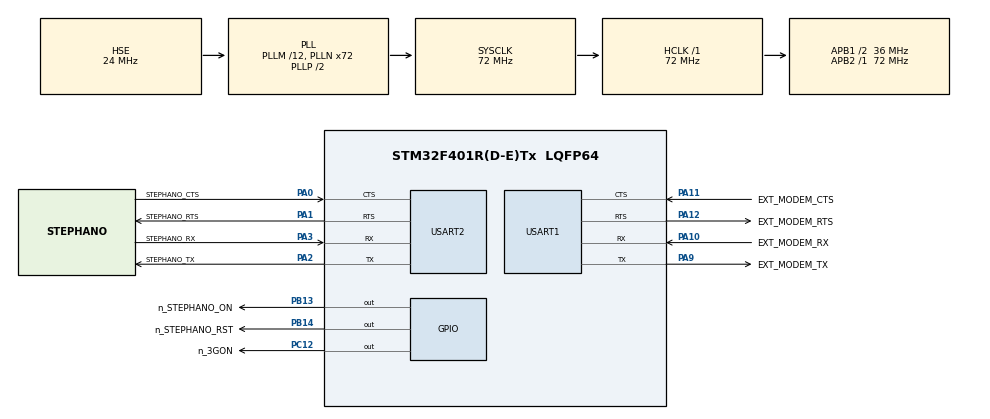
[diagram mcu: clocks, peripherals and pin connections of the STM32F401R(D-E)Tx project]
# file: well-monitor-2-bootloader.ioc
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Mcu.Family=STM32F4
Mcu.Name=STM32F401R(D-E)Tx
Mcu.Package=LQFP64
NVIC.PriorityGroup=NVIC_PRIORITYGROUP_4
NVIC.USART2_IRQn=true\:0\:0\:false\:false\:true\:true\:true\:true
PA0-WKUP.GPIO_Label=STEPHANO_CTS
PA0-WKUP.Mode=CTS_RTS
PA0-WKUP.Signal=USART2_CTS
PA1.GPIO_Label=STEPHANO_RTS
PA1.Mode=CTS_RTS
PA1.Signal=USART2_RTS
PA10.GPIO_Label=EXT_MODEM_RX
PA10.Mode=Asynchronous
PA10.Signal=USART1_RX
PA11.GPIO_Label=EXT_MODEM_CTS
PA11.Mode=CTS_RTS
PA11.Signal=USART1_CTS
PA12.GPIO_Label=EXT_MODEM_RTS
PA12.Mode=CTS_RTS
PA12.Signal=USART1_RTS
PA13.GPIO_Label=TMS
PA13.Mode=Serial_Wire
PA13.Signal=SYS_JTMS-SWDIO
PA14.GPIO_Label=TCK
PA14.Mode=Serial_Wire
PA14.Signal=SYS_JTCK-SWCLK
PA2.GPIO_Label=STEPHANO_TX
PA2.Mode=Asynchronous
PA2.Signal=USART2_TX
PA3.GPIO_Label=STEPHANO_RX
PA3.Mode=Asynchronous
PA3.Signal=USART2_RX
PA9.GPIO_Label=EXT_MODEM_TX
PA9.Mode=Asynchronous
PA9.Signal=USART1_TX
PB13.GPIO_Label=n_STEPHANO_ON
PB13.Signal=GPIO_Output
PB14.GPIO_Label=n_STEPHANO_RST
PB14.PinState=GPIO_PIN_SET
PB14.Signal=GPIO_Output
PC12.GPIO_Label=n_3GON
PC12.Signal=GPIO_Output
PC14-OSC32_IN.Mode=LSE-External-Oscillator
PC14-OSC32_IN.Signal=RCC_OSC32_IN
PC15-OSC32_OUT.Mode=LSE-External-Oscillator
PC15-OSC32_OUT.Signal=RCC_OSC32_OUT
PH0\ -\ OSC_IN.Mode=HSE-External-Oscillator
PH0\ -\ OSC_IN.Signal=RCC_OSC_IN
PH1\ -\ OSC_OUT.Mode=HSE-External-Oscillator
PH1\ -\ OSC_OUT.Signal=RCC_OSC_OUT
ProjectManager.HeapSize=0x600
ProjectManager.StackSize=0x400
ProjectManager.TargetToolchain=STM32CubeIDE
RCC.48MHZClocksFreq_Value=36000000
RCC.AHBFreq_Value=72000000
RCC.APB1CLKDivider=RCC_HCLK_DIV2
RCC.APB1Freq_Value=36000000
RCC.APB1TimFreq_Value=72000000
RCC.APB2Freq_Value=72000000
RCC.APB2TimFreq_Value=72000000
RCC.CortexFreq_Value=72000000
RCC.HCLKFreq_Value=72000000
RCC.HSE_VALUE=24000000
RCC.HSI_VALUE=16000000
RCC.PLLM=12
RCC.PLLN=72
RCC.PLLSourceVirtual=RCC_PLLSOURCE_HSE
RCC.SYSCLKFreq_VALUE=72000000
RCC.SYSCLKSource=RCC_SYSCLKSOURCE_PLLCLK
RCC.VCOOutputFreq_Value=144000000
USART1.VirtualMode=VM_ASYNC
USART2.VirtualMode=VM_ASYNC
board=custom

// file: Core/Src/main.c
/* USER CODE BEGIN Header */
/**
  ******************************************************************************
  * @file           : main.c
  * @brief          : Main program body
  ******************************************************************************
  * @attention
  *
  * Copyright (c) 2026 STMicroelectronics.
  * All rights reserved.
  *
  * This software is licensed under terms that can be found in the LICENSE file
  * in the root directory of this software component.
  * If no LICENSE file comes with this software, it is provided AS-IS.
  *
  ******************************************************************************
  */
/* USER CODE END Header */
#include "main.h"

/* USER CODE BEGIN Includes */
#include <stdio.h>
#include "bootloader_logic.h"
#include "bootloader_download.h"
/* USER CODE END Includes */

/* USER CODE BEGIN PD */
#define BOOTLOADER_DEBUG_ENABLE 1
/* USER CODE END PD */

UART_HandleTypeDef huart1;
UART_HandleTypeDef huart2;

void SystemClock_Config(void);
static void MX_GPIO_Init(void);
static void MX_USART2_UART_Init(void);
static void MX_USART1_UART_Init(void);

int main(void)
{

  /* MCU Configuration--------------------------------------------------------*/

  /* Reset of all peripherals, Initializes the Flash interface and the Systick. */
  HAL_Init();

  /* USER CODE BEGIN Init */
  /* Enable interrupts - BootOnlyBootloader disables them before jumping here */
  __enable_irq();
  /* USER CODE END Init */

  /* Configure the system clock */
  SystemClock_Config();

  /* Initialize all configured peripherals */
  MX_GPIO_Init();
  MX_USART2_UART_Init();
  MX_USART1_UART_Init();

  /* Infinite loop */
  while (1)
  {

    /* USER CODE BEGIN 3 */
#if BOOTLOADER_DEBUG_ENABLE
  {
    char dbg_msg[128];
    int len = sprintf(dbg_msg, "Calling Bootloader_Run\r\n");
    HAL_UART_Transmit(&huart1, (uint8_t*)dbg_msg, len, 1000);
  }
#endif

  /* Run second-stage bootloader: sector 6/7 search, jump, or BLE download */
  Bootloader_Run();

  /* Connect to the download server. This is connect or die trying effort, so no need for status checking. */
  Bootloader_ConnectToServer();

#if BOOTLOADER_DEBUG_ENABLE
  {
    char dbg_msg[128];
    int len = sprintf(dbg_msg, "Calling Bootloader_Download_Process\r\n");
    HAL_UART_Transmit(&huart1, (uint8_t*)dbg_msg, len, 1000);
  }
#endif
    Bootloader_Download_Process();
    HAL_Delay(10);
  }
  /* USER CODE END 3 */
}

void SystemClock_Config(void)
{
  RCC_OscInitTypeDef RCC_OscInitStruct = {0};
  RCC_ClkInitTypeDef RCC_ClkInitStruct = {0};

  /** Configure the main internal regulator output voltage
  */
  __HAL_RCC_PWR_CLK_ENABLE();
  __HAL_PWR_VOLTAGESCALING_CONFIG(PWR_REGULATOR_VOLTAGE_SCALE2);

  /** Initializes the RCC Oscillators according to the specified parameters
  * in the RCC_OscInitTypeDef structure.
  */
  RCC_OscInitStruct.OscillatorType = RCC_OSCILLATORTYPE_HSE;
  RCC_OscInitStruct.HSEState = RCC_HSE_ON;
  RCC_OscInitStruct.PLL.PLLState = RCC_PLL_ON;
  RCC_OscInitStruct.PLL.PLLSource = RCC_PLLSOURCE_HSE;
  RCC_OscInitStruct.PLL.PLLM = 12;
  RCC_OscInitStruct.PLL.PLLN = 72;
  RCC_OscInitStruct.PLL.PLLP = RCC_PLLP_DIV2;
  RCC_OscInitStruct.PLL.PLLQ = 4;
  if (HAL_RCC_OscConfig(&RCC_OscInitStruct) != HAL_OK)
  {
    Error_Handler();
  }

  /** Initializes the CPU, AHB and APB buses clocks
  */
  RCC_ClkInitStruct.ClockType = RCC_CLOCKTYPE_HCLK|RCC_CLOCKTYPE_SYSCLK
                              |RCC_CLOCKTYPE_PCLK1|RCC_CLOCKTYPE_PCLK2;
  RCC_ClkInitStruct.SYSCLKSource = RCC_SYSCLKSOURCE_PLLCLK;
  RCC_ClkInitStruct.AHBCLKDivider = RCC_SYSCLK_DIV1;
  RCC_ClkInitStruct.APB1CLKDivider = RCC_HCLK_DIV2;
  RCC_ClkInitStruct.APB2CLKDivider = RCC_HCLK_DIV1;

  if (HAL_RCC_ClockConfig(&RCC_ClkInitStruct, FLASH_LATENCY_2) != HAL_OK)
  {
    Error_Handler();
  }
}

static void MX_USART1_UART_Init(void)
{

  huart1.Instance = USART1;
  huart1.Init.BaudRate = 115200;
  huart1.Init.WordLength = UART_WORDLENGTH_8B;
  huart1.Init.StopBits = UART_STOPBITS_1;
  huart1.Init.Parity = UART_PARITY_NONE;
  huart1.Init.Mode = UART_MODE_TX_RX;
  huart1.Init.HwFlowCtl = UART_HWCONTROL_NONE /* UART_HWCONTROL_RTS_CTS */;
  huart1.Init.OverSampling = UART_OVERSAMPLING_16;
  if (HAL_UART_Init(&huart1) != HAL_OK)
  {
    Error_Handler();
  }

}

static void MX_USART2_UART_Init(void)
{

  huart2.Instance = USART2;
  huart2.Init.BaudRate = 115200;
  huart2.Init.WordLength = UART_WORDLENGTH_8B;
  huart2.Init.StopBits = UART_STOPBITS_1;
  huart2.Init.Parity = UART_PARITY_NONE;
  huart2.Init.Mode = UART_MODE_TX_RX;
  huart2.Init.HwFlowCtl = UART_HWCONTROL_NONE /* UART_HWCONTROL_RTS_CTS */;
  huart2.Init.OverSampling = UART_OVERSAMPLING_16;
  if (HAL_UART_Init(&huart2) != HAL_OK)
  {
    Error_Handler();
  }

}

static void MX_GPIO_Init(void)
{
  GPIO_InitTypeDef GPIO_InitStruct = {0};

  /* GPIO Ports Clock Enable */
  __HAL_RCC_GPIOC_CLK_ENABLE();
  __HAL_RCC_GPIOH_CLK_ENABLE();
  __HAL_RCC_GPIOA_CLK_ENABLE();
  __HAL_RCC_GPIOB_CLK_ENABLE();
  __HAL_RCC_GPIOD_CLK_ENABLE();

  /*Configure GPIO pin Output Level */
  HAL_GPIO_WritePin(n_STEPHANO_ON_GPIO_Port, n_STEPHANO_ON_Pin, GPIO_PIN_RESET);

  /*Configure GPIO pin Output Level */
  HAL_GPIO_WritePin(n_STEPHANO_RST_GPIO_Port, n_STEPHANO_RST_Pin, GPIO_PIN_SET);

  /*Configure GPIO pin Output Level */
  HAL_GPIO_WritePin(n_3GON_GPIO_Port, n_3GON_Pin, GPIO_PIN_RESET);

  /*Configure GPIO pins : PC13 PC0 PC1 PC2
                           PC3 PC4 PC5 PC6
                           PC7 PC8 PC9 PC10
                           PC11 */
  GPIO_InitStruct.Pin = GPIO_PIN_13|GPIO_PIN_0|GPIO_PIN_1|GPIO_PIN_2
                          |GPIO_PIN_3|GPIO_PIN_4|GPIO_PIN_5|GPIO_PIN_6
                          |GPIO_PIN_7|GPIO_PIN_8|GPIO_PIN_9|GPIO_PIN_10
                          |GPIO_PIN_11;
  GPIO_InitStruct.Mode = GPIO_MODE_ANALOG;
  GPIO_InitStruct.Pull = GPIO_NOPULL;
  HAL_GPIO_Init(GPIOC, &GPIO_InitStruct);

  /*Configure GPIO pins : PA4 PA5 PA6 PA7
                           PA8 PA15 */
  GPIO_InitStruct.Pin = GPIO_PIN_4|GPIO_PIN_5|GPIO_PIN_6|GPIO_PIN_7
                          |GPIO_PIN_8|GPIO_PIN_15;
  GPIO_InitStruct.Mode = GPIO_MODE_ANALOG;
  GPIO_InitStruct.Pull = GPIO_NOPULL;
  HAL_GPIO_Init(GPIOA, &GPIO_InitStruct);

  /*Configure GPIO pins : PB0 PB1 PB2 PB10
                           PB12 PB15 PB3 PB4
                           PB5 PB6 PB7 PB8
                           PB9 */
  GPIO_InitStruct.Pin = GPIO_PIN_0|GPIO_PIN_1|GPIO_PIN_2|GPIO_PIN_10
                          |GPIO_PIN_12|GPIO_PIN_15|GPIO_PIN_3|GPIO_PIN_4
                          |GPIO_PIN_5|GPIO_PIN_6|GPIO_PIN_7|GPIO_PIN_8
                          |GPIO_PIN_9;
  GPIO_InitStruct.Mode = GPIO_MODE_ANALOG;
  GPIO_InitStruct.Pull = GPIO_NOPULL;
  HAL_GPIO_Init(GPIOB, &GPIO_InitStruct);

  /*Configure GPIO pins : n_STEPHANO_ON_Pin n_STEPHANO_RST_Pin */
  GPIO_InitStruct.Pin = n_STEPHANO_ON_Pin|n_STEPHANO_RST_Pin;
  GPIO_InitStruct.Mode = GPIO_MODE_OUTPUT_PP;
  GPIO_InitStruct.Pull = GPIO_NOPULL;
  GPIO_InitStruct.Speed = GPIO_SPEED_FREQ_LOW;
  HAL_GPIO_Init(GPIOB, &GPIO_InitStruct);

  /*Configure GPIO pin : n_3GON_Pin */
  GPIO_InitStruct.Pin = n_3GON_Pin;
  GPIO_InitStruct.Mode = GPIO_MODE_OUTPUT_PP;
  GPIO_InitStruct.Pull = GPIO_NOPULL;
  GPIO_InitStruct.Speed = GPIO_SPEED_FREQ_LOW;
  HAL_GPIO_Init(n_3GON_GPIO_Port, &GPIO_InitStruct);

  /*Configure GPIO pin : PD2 */
  GPIO_InitStruct.Pin = GPIO_PIN_2;
  GPIO_InitStruct.Mode = GPIO_MODE_ANALOG;
  GPIO_InitStruct.Pull = GPIO_NOPULL;
  HAL_GPIO_Init(GPIOD, &GPIO_InitStruct);

}

void Error_Handler(void)
{
  __disable_irq();
  while (1)
  {
  }
}
